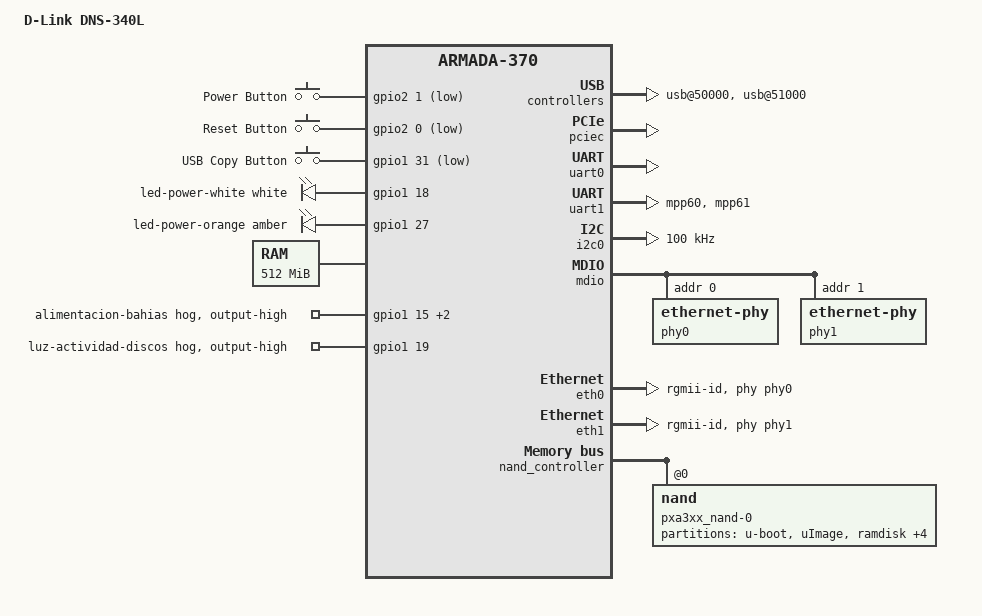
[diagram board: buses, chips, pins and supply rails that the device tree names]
// SPDX-License-Identifier: (GPL-2.0+ OR MIT)
/*
 * Árbol de dispositivos para el D-Link ShareCenter DNS-340L (rev. A1).
 * Basado en armada-370-dlink-dns327l.dts y en el análisis del firmware 1.08b01.
 *
 *   - Marvell Armada 370 (88F6707) a 1,2 GHz, 512 MiB DDR3
 *   - PCIe: Etron EJ168 (xHCI, 1b6f:7023) y Marvell 88SE9215 (AHCI 4 puertos, 1b4b:9215)
 *   - 2 x GbE (mvneta) con PHY Marvell 88E1510 en las direcciones 0 y 1
 *   - UART0 = consola, UART1 = microcontrolador Weltrend WT6701 (ventilador, botón, reloj)
 *   - NAND Hynix 256 MiB, BCH 4 bits, particiones como el firmware de D-Link
 *
 * No se modifica el pinmux: se respeta el que deja U-Boot.
 * Botones por GPIO: reset (64) y copia USB (63) probados en el equipo 2. El de encendido NO está en el
 * GPIO 65 (no genera interrupciones): se deja declarado por si acaso, sin efecto.
 * GPIO del banco 1 identificados en el equipo 2 (3-11-2026):
 *   47, 48, 49  alimentación de las bahías (a 0 se apagan los discos): reservados aquí, siempre a 1
 *               (árbol probado en el equipo 2 con Debian 6.12.115: hogs y LED funcionan)
 *   50 / 59     LED de encendido blanco / naranja (activos a nivel alto)
 *   51          luz de actividad de los discos (sin confirmar), a 1 como en el firmware de D-Link
 *   58          LED de encendido: a 1 deja de parpadear (sin confirmar)
 *   57          sin efecto visible
 * El USB 3.0 delantero (Etron EJ168) funciona a 5 Gbps con el núcleo de Debian arrancado con kexec.
 */

/dts-v1/;

#include <dt-bindings/gpio/gpio.h>
#include <dt-bindings/input/input.h>
#include <dt-bindings/leds/common.h>
#include "armada-370.dtsi"

/ {
	model = "D-Link DNS-340L";
	compatible = "dlink,dns340l", "marvell,armada370", "marvell,armada-370-xp";

	chosen {
		stdout-path = "serial0:115200n8";
		/*
		 * netconsole: los mensajes del núcleo (también un kernel panic) se envían por difusión UDP
		 * al puerto 6666 de la red local; en un PC basta con "nc -u -l 6666". Sirve sin consola serie.
		 */
		bootargs = "console=ttyS0,115200 loglevel=7 rdinit=/init netconsole=6665@192.168.1.250/eth0,6666@255.255.255.255/ff:ff:ff:ff:ff:ff";
	};

	/*
	 * Botones (activos a nivel bajo, a 1 en reposo). El pinmux ya los deja como GPIO (U-Boot).
	 * Encendido -> KEY_POWER: systemd-logind apaga de forma ordenada.
	 * Reset y copia USB -> teclas que logind no usa (para asignarles algo más adelante).
	 * La pulsación larga del botón de encendido la gestiona el microcontrolador (corte de corriente).
	 */
	gpio-keys {
		compatible = "gpio-keys";

		power-button {
			label = "Power Button";
			linux,code = <KEY_POWER>;
			gpios = <&gpio2 1 GPIO_ACTIVE_LOW>;
		};

		reset-button {
			label = "Reset Button";
			linux,code = <KEY_PROG1>;
			gpios = <&gpio2 0 GPIO_ACTIVE_LOW>;
		};

		copy-button {
			label = "USB Copy Button";
			linux,code = <KEY_COPY>;
			gpios = <&gpio1 31 GPIO_ACTIVE_LOW>;
		};
	};

	/* LED de encendido (el parpadeo naranja al arrancar lo pone el microcontrolador) */
	gpio-leds {
		compatible = "gpio-leds";

		led-power-white {
			function = LED_FUNCTION_POWER;
			color = <LED_COLOR_ID_WHITE>;
			gpios = <&gpio1 18 GPIO_ACTIVE_HIGH>;	/* GPIO 50 */
			default-state = "on";
		};

		led-power-orange {
			function = LED_FUNCTION_POWER;
			color = <LED_COLOR_ID_AMBER>;
			gpios = <&gpio1 27 GPIO_ACTIVE_HIGH>;	/* GPIO 59 */
			default-state = "off";
		};
	};

	memory@0 {
		device_type = "memory";
		reg = <0x00000000 0x20000000>; /* 512 MiB */
	};

	soc {
		ranges = <MBUS_ID(0xf0, 0x01) 0 DNS340L_REGS_BASE 0x100000
			  MBUS_ID(0x01, 0xe0) 0 0xfff00000 0x100000
			  MBUS_ID(0x09, 0x01) 0 0xf1100000 0x10000>;

		internal-regs {
			/* Puertos USB 2.0 internos del Armada (U-Boot lee el USB por aquí) */
			usb@50000 {
				status = "okay";
			};

			usb@51000 {
				status = "okay";
			};
		};
	};
};

/* Etron EJ168 (USB 3.0) y Marvell 88SE9215 (4 x SATA) */
&pciec {
	status = "okay";

	pcie@1,0 {
		status = "okay";
	};

	pcie@2,0 {
		status = "okay";
	};
};

/* Consola */
&uart0 {
	status = "okay";
};

/*
 * Microcontrolador Weltrend WT6701 (mismo protocolo que el DNS-320L), en MPP60 (RX) y MPP61 (TX).
 * OJO: armada-370.dtsi pone uart1 en MPP41/42 (placa de desarrollo de Marvell). En el DNS-340L esas
 * patillas son las líneas de datos AD2/AD3 del bus de la NAND: con la asignación por defecto la NAND
 * deja de leerse (devuelve siempre el mismo byte). Comprobado en el equipo.
 */
&pinctrl {
	uart1_pins_dns340l: uart1-pins-dns340l {
		marvell,pins = "mpp60", "mpp61";
		marvell,function = "uart1";
	};
};

&uart1 {
	pinctrl-0 = <&uart1_pins_dns340l>;
	pinctrl-names = "default";
	status = "okay";
};

&i2c0 {
	clock-frequency = <100000>;
	status = "okay";
};

/* PHY Marvell 88E1510 (id 0x01410dd1) en las direcciones 0 y 1, comprobado en el equipo */
&mdio {
	status = "okay";

	phy0: ethernet-phy@0 {
		reg = <0>;
	};

	phy1: ethernet-phy@1 {
		reg = <1>;
	};
};

/* MAC fijas (administradas localmente) para que el DHCP asigne siempre la misma IP */
&eth0 {
	phy = <&phy0>;
	phy-mode = "rgmii-id";
	local-mac-address = [02 d3 40 4c 00 01];
	status = "okay";
};

&eth1 {
	phy = <&phy1>;
	phy-mode = "rgmii-id";
	local-mac-address = [02 d3 40 4c 00 02];
	status = "okay";
};

/*
 * NAND Hynix 256 MiB, BCH 4 bits (igual que el DNS-327L). Particiones como en el
 * firmware de D-Link. Solo "uImage" (núcleo) y "ramdisk" (arranque) son escribibles.
 */
&nand_controller {
	status = "okay";

	nand@0 {
		reg = <0>;
		label = "pxa3xx_nand-0";
		nand-rb = <0>;
		marvell,nand-keep-config;
		nand-on-flash-bbt;
		nand-ecc-strength = <4>;
		nand-ecc-step-size = <512>;

		partitions {
			compatible = "fixed-partitions";
			#address-cells = <1>;
			#size-cells = <1>;

			partition@0 {
				label = "u-boot";
				reg = <0x0000000 0x0500000>;
				read-only;
			};
			partition@500000 {
				label = "uImage";
				reg = <0x0500000 0x0500000>;
			};
			partition@a00000 {
				label = "ramdisk";
				reg = <0x0a00000 0x0500000>;
			};
			partition@f00000 {
				label = "image.cfs";
				reg = <0x0f00000 0xce00000>;
				read-only;
			};
			partition@dd00000 {
				label = "rescue";
				reg = <0xdd00000 0x0f00000>;
				read-only;
			};
			partition@ec00000 {
				label = "config";
				reg = <0xec00000 0x0a00000>;
				read-only;
			};
			partition@f600000 {
				label = "mydlink";
				reg = <0xf600000 0x0a00000>;
				read-only;
			};
		};
	};
};

/*
 * Salidas fijas, reservadas para que nada las cambie (gpioset da «Device or resource busy»).
 * ¡Cuidado! Poner a 0 los GPIO 47-49 corta la corriente a los discos (probado: los cuatro se
 * desconectaron y el sistema se quedó sin disco).
 */
&gpio1 {
	alimentacion-bahias-hog {
		gpio-hog;
		gpios = <15 GPIO_ACTIVE_HIGH>, <16 GPIO_ACTIVE_HIGH>, <17 GPIO_ACTIVE_HIGH>;	/* GPIO 47-49 */
		output-high;
		line-name = "alimentacion-bahias";
	};

	luz-discos-hog {
		gpio-hog;
		gpios = <19 GPIO_ACTIVE_HIGH>;	/* GPIO 51 */
		output-high;
		line-name = "luz-actividad-discos";
	};
};
